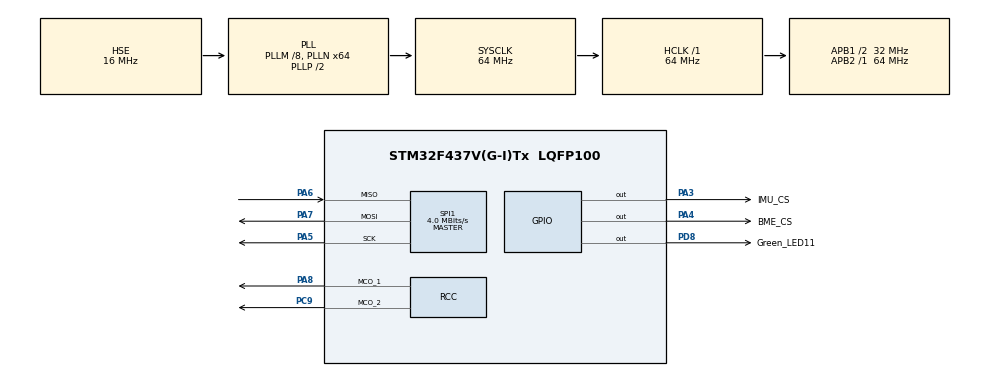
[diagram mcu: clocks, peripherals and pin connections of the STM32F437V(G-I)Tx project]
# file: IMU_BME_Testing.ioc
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Mcu.Family=STM32F4
Mcu.Name=STM32F437V(G-I)Tx
Mcu.Package=LQFP100
NVIC.PriorityGroup=NVIC_PRIORITYGROUP_4
PA3.GPIO_DefaultOutputState=GPIO_PIN_SET
PA3.GPIO_Label=IMU_CS
PA3.Signal=GPIO_Output
PA4.GPIO_DefaultOutputState=GPIO_PIN_SET
PA4.GPIO_Label=BME_CS
PA4.Signal=GPIO_Output
PA5.Mode=Full_Duplex_Master
PA5.Signal=SPI1_SCK
PA6.Mode=Full_Duplex_Master
PA6.Signal=SPI1_MISO
PA7.Mode=Full_Duplex_Master
PA7.Signal=SPI1_MOSI
PA8.Mode=Clock-out-1
PA8.Signal=RCC_MCO_1
PC9.Mode=Clock-out-2
PC9.Signal=RCC_MCO_2
PD8.GPIO_Label=Green_LED11
PD8.Signal=GPIO_Output
PH0/OSC_IN.Mode=HSE-External-Oscillator
PH0/OSC_IN.Signal=RCC_OSC_IN
PH1/OSC_OUT.Mode=HSE-External-Oscillator
PH1/OSC_OUT.Signal=RCC_OSC_OUT
ProjectManager.HeapSize=0x200
ProjectManager.StackSize=0x400
ProjectManager.TargetToolchain=STM32CubeIDE
RCC.48MHZClocksFreq_Value=32000000
RCC.AHBFreq_Value=64000000
RCC.APB1CLKDivider=RCC_HCLK_DIV2
RCC.APB1Freq_Value=32000000
RCC.APB1TimFreq_Value=64000000
RCC.APB2Freq_Value=64000000
RCC.APB2TimFreq_Value=64000000
RCC.CortexFreq_Value=64000000
RCC.EnbaleCSS=true
RCC.HCLKFreq_Value=64000000
RCC.HSE_VALUE=16000000
RCC.HSI_VALUE=16000000
RCC.LSE_VALUE=32768
RCC.PLLM=8
RCC.PLLN=64
RCC.PLLSourceVirtual=RCC_PLLSOURCE_HSE
RCC.RCC_MCO1Source=RCC_MCO1SOURCE_HSE
RCC.SYSCLKFreq_VALUE=64000000
RCC.SYSCLKSource=RCC_SYSCLKSOURCE_PLLCLK
RCC.VCOOutputFreq_Value=128000000
SPI1.BaudRatePrescaler=SPI_BAUDRATEPRESCALER_16
SPI1.CalculateBaudRate=4.0 MBits/s
SPI1.Direction=SPI_DIRECTION_2LINES
SPI1.Mode=SPI_MODE_MASTER
SPI1.VirtualType=VM_MASTER
board=custom

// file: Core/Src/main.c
/* USER CODE BEGIN Header */
/**
  ******************************************************************************
  * @file           : main.c
  * @brief          : Main program body
  ******************************************************************************
  * @attention
  *
  * Copyright (c) 2026 STMicroelectronics.
  * All rights reserved.
  *
  * This software is licensed under terms that can be found in the LICENSE file
  * in the root directory of this software component.
  * If no LICENSE file comes with this software, it is provided AS-IS.
  *
  ******************************************************************************
  */
/* USER CODE END Header */
#include "main.h"

/* USER CODE BEGIN Includes */
#include <stdio.h>
#include <string.h>
#include "bmi270.h"

/* USER CODE END Includes */

/* USER CODE BEGIN PD */
#define BMI270_CHIP_ID_REG                 0x00U
#define BMI270_ERROR_REG                   0x02U
#define BMI270_ACC_RANGE_REG               0x41U
#define BMI270_CHIP_ID_VALUE               0x24U
#define BMI270_SPI_READ_BIT                0x80U
#define BMI270_SPI_TIMEOUT_MS              100U
#define BMI270_STARTUP_DELAY_MS            10U
#define BMI270_SAMPLE_INTERVAL_MS          250U
#define BMI270_HEALTH_INTERVAL_MS          5000U
#define BMI270_RETRY_INTERVAL_MS           5000U
#define BMI270_CONFIG_BURST_LENGTH         64U
#define BMI270_RAW_PREFLIGHT_READS          5U
#define BMI270_DIAG_E_VERIFY               INT8_C(-100)
#define HEARTBEAT_TOGGLE_INTERVAL_MS       500U

/* USER CODE END PD */

SPI_HandleTypeDef hspi1;

/* USER CODE BEGIN PV */
/* Watch these variables in the debugger when SWV text is unavailable. */
volatile uint8_t bmi270_chip_id = 0U;
volatile uint8_t bmi270_communication_ok = 0U;
volatile HAL_StatusTypeDef bmi270_last_hal_status = HAL_ERROR;
volatile uint32_t bmi270_success_count = 0U;
volatile uint32_t bmi270_error_count = 0U;
volatile uint8_t bmi270_ready = 0U;
volatile int8_t bmi270_last_result = BMI2_E_COM_FAIL;
volatile uint8_t bmi270_internal_status = 0U;
volatile uint8_t bmi270_status = 0U;
volatile int16_t bmi270_accel_raw[3] = {0};
volatile int16_t bmi270_gyro_raw[3] = {0};
volatile uint32_t bmi270_sensor_time = 0U;

/* Exact low-level transaction information. phase: 1=address, 2=data. */
volatile uint8_t bmi270_spi_last_op = 0U;
volatile uint8_t bmi270_spi_last_reg = 0U;
volatile uint32_t bmi270_spi_last_len = 0U;
volatile uint8_t bmi270_spi_last_phase = 0U;
volatile uint32_t bmi270_spi_last_hal_error = 0U;
volatile uint32_t bmi270_spi_last_sr = 0U;
volatile uint32_t bmi270_spi_transaction_count = 0U;
volatile uint32_t bmi270_spi_failure_count = 0U;

static struct bmi2_dev bmi270_dev;
static const char *bmi270_stage = "not-started";

/* USER CODE END PV */

void SystemClock_Config(void);
static void MX_GPIO_Init(void);
static void MX_SPI1_Init(void);
/* USER CODE BEGIN PFP */
int __io_putchar(int ch);
static void BMI270_DelayUs(uint32_t period_us, void *intf_ptr);
static BMI2_INTF_RETURN_TYPE BMI270_BusRead(uint8_t reg_addr,
                                            uint8_t *reg_data,
                                            uint32_t len,
                                            void *intf_ptr);
static BMI2_INTF_RETURN_TYPE BMI270_BusWrite(uint8_t reg_addr,
                                             const uint8_t *reg_data,
                                             uint32_t len,
                                             void *intf_ptr);
static HAL_StatusTypeDef BMI270_RawRead(uint8_t reg_addr,
                                        uint8_t *reg_data,
                                        uint16_t len);
static void BMI270_PrintBusState(void);
static void BMI270_PrintRegisters(const char *label);
static uint8_t BMI270_RawPreflight(void);
static int8_t BMI270_WriteReadbackTest(void);
static int8_t BMI270_StartActive(void);
static void BMI270_ReadSample(void);

/* USER CODE END PFP */

/* USER CODE BEGIN 0 */
/**
  * @brief Route printf output to SWV ITM stimulus port 0.
  */
int __io_putchar(int ch)
{
  ITM_SendChar((uint32_t)ch);
  return ch;
}

static void BMI270_DelayUs(uint32_t period_us, void *intf_ptr)
{
  uint32_t cycles_per_us;
  uint32_t start;

  (void)intf_ptr;
  cycles_per_us = HAL_RCC_GetHCLKFreq() / 1000000U;
  start = DWT->CYCCNT;
  while ((uint32_t)(DWT->CYCCNT - start) < (period_us * cycles_per_us))
  {
  }
}

static void BMI270_SaveBusState(uint8_t op,
                                uint8_t reg_addr,
                                uint32_t len,
                                uint8_t phase,
                                HAL_StatusTypeDef status)
{
  bmi270_spi_last_op = op;
  bmi270_spi_last_reg = (uint8_t)(reg_addr & 0x7FU);
  bmi270_spi_last_len = len;
  bmi270_spi_last_phase = phase;
  bmi270_last_hal_status = status;
  bmi270_spi_last_hal_error = HAL_SPI_GetError(&hspi1);
  bmi270_spi_last_sr = hspi1.Instance->SR;
  bmi270_spi_transaction_count++;

  if (status != HAL_OK)
  {
    bmi270_spi_failure_count++;
  }
}

static BMI2_INTF_RETURN_TYPE BMI270_BusRead(uint8_t reg_addr,
                                            uint8_t *reg_data,
                                            uint32_t len,
                                            void *intf_ptr)
{
  SPI_HandleTypeDef *spi = (SPI_HandleTypeDef *)intf_ptr;
  HAL_StatusTypeDef status;
  uint8_t phase = 1U;

  if ((spi == NULL) || (reg_data == NULL) || (len == 0U) || (len > UINT16_MAX))
  {
    return (BMI2_INTF_RETURN_TYPE)-1;
  }

  /* The BME280 shares SPI1 and must never be selected during an IMU transfer. */
  HAL_GPIO_WritePin(BME_CS_GPIO_Port, BME_CS_Pin, GPIO_PIN_SET);
  HAL_GPIO_WritePin(IMU_CS_GPIO_Port, IMU_CS_Pin, GPIO_PIN_RESET);
  status = HAL_SPI_Transmit(spi, &reg_addr, 1U, BMI270_SPI_TIMEOUT_MS);
  if (status == HAL_OK)
  {
    phase = 2U;
    status = HAL_SPI_Receive(spi, reg_data, (uint16_t)len,
                             BMI270_SPI_TIMEOUT_MS);
  }
  HAL_GPIO_WritePin(IMU_CS_GPIO_Port, IMU_CS_Pin, GPIO_PIN_SET);

  BMI270_SaveBusState((uint8_t)'R', reg_addr, len, phase, status);
  return (status == HAL_OK) ? BMI2_INTF_RET_SUCCESS : (BMI2_INTF_RETURN_TYPE)-1;
}

static BMI2_INTF_RETURN_TYPE BMI270_BusWrite(uint8_t reg_addr,
                                             const uint8_t *reg_data,
                                             uint32_t len,
                                             void *intf_ptr)
{
  SPI_HandleTypeDef *spi = (SPI_HandleTypeDef *)intf_ptr;
  HAL_StatusTypeDef status;
  uint8_t phase = 1U;

  if ((spi == NULL) || (reg_data == NULL) || (len == 0U) || (len > UINT16_MAX))
  {
    return (BMI2_INTF_RETURN_TYPE)-1;
  }

  HAL_GPIO_WritePin(BME_CS_GPIO_Port, BME_CS_Pin, GPIO_PIN_SET);
  HAL_GPIO_WritePin(IMU_CS_GPIO_Port, IMU_CS_Pin, GPIO_PIN_RESET);
  status = HAL_SPI_Transmit(spi, &reg_addr, 1U, BMI270_SPI_TIMEOUT_MS);
  if (status == HAL_OK)
  {
    phase = 2U;
    status = HAL_SPI_Transmit(spi, (uint8_t *)reg_data, (uint16_t)len,
                              BMI270_SPI_TIMEOUT_MS);
  }
  HAL_GPIO_WritePin(IMU_CS_GPIO_Port, IMU_CS_Pin, GPIO_PIN_SET);

  BMI270_SaveBusState((uint8_t)'W', reg_addr, len, phase, status);
  return (status == HAL_OK) ? BMI2_INTF_RET_SUCCESS : (BMI2_INTF_RETURN_TYPE)-1;
}

static HAL_StatusTypeDef BMI270_RawRead(uint8_t reg_addr,
                                        uint8_t *reg_data,
                                        uint16_t len)
{
  uint8_t rx_data[17] = {0U};
  BMI2_INTF_RETURN_TYPE result;

  if ((reg_data == NULL) || (len == 0U) || (len > 16U))
  {
    return HAL_ERROR;
  }

  /* BMI270 SPI reads return one dummy byte before the requested register. */
  result = BMI270_BusRead((uint8_t)(reg_addr | BMI270_SPI_READ_BIT),
                          rx_data, (uint32_t)len + 1U, &hspi1);
  if (result == BMI2_INTF_RET_SUCCESS)
  {
    memcpy(reg_data, &rx_data[1], len);
    return HAL_OK;
  }

  return bmi270_last_hal_status;
}

static void BMI270_PrintBusState(void)
{
  printf("[BMI270 BUS] stage=%s op=%c reg=0x%02X len=%lu phase=%u "
         "HAL=%u HAL_ERR=0x%08lX HAL_STATE=%u SPI_SR=0x%08lX txns=%lu failures=%lu\r\n",
         bmi270_stage,
         (bmi270_spi_last_op != 0U) ? (char)bmi270_spi_last_op : '-',
         (unsigned int)bmi270_spi_last_reg,
         (unsigned long)bmi270_spi_last_len,
         (unsigned int)bmi270_spi_last_phase,
         (unsigned int)bmi270_last_hal_status,
         (unsigned long)bmi270_spi_last_hal_error,
         (unsigned int)HAL_SPI_GetState(&hspi1),
         (unsigned long)bmi270_spi_last_sr,
         (unsigned long)bmi270_spi_transaction_count,
         (unsigned long)bmi270_spi_failure_count);
}

static void BMI270_PrintRegisters(const char *label)
{
  uint8_t chip_id = 0U;
  uint8_t error = 0U;
  uint8_t status = 0U;
  uint8_t internal_status = 0U;
  uint8_t acc_config[2] = {0U};
  uint8_t gyr_config[2] = {0U};
  uint8_t power[2] = {0U};
  int8_t result = BMI2_OK;

  if (bmi270_ready != 0U)
  {
    result |= bmi2_get_regs(BMI2_CHIP_ID_ADDR, &chip_id, 1U, &bmi270_dev);
    result |= bmi2_get_regs(BMI270_ERROR_REG, &error, 1U, &bmi270_dev);
    result |= bmi2_get_regs(BMI2_STATUS_ADDR, &status, 1U, &bmi270_dev);
    result |= bmi2_get_regs(BMI2_INTERNAL_STATUS_ADDR, &internal_status, 1U,
                            &bmi270_dev);
    result |= bmi2_get_regs(BMI2_ACC_CONF_ADDR, acc_config, 2U, &bmi270_dev);
    result |= bmi2_get_regs(BMI2_GYR_CONF_ADDR, gyr_config, 2U, &bmi270_dev);
    result |= bmi2_get_regs(BMI2_PWR_CONF_ADDR, power, 2U, &bmi270_dev);
  }
  else
  {
    if ((BMI270_RawRead(BMI2_CHIP_ID_ADDR, &chip_id, 1U) != HAL_OK) ||
        (BMI270_RawRead(BMI270_ERROR_REG, &error, 1U) != HAL_OK) ||
        (BMI270_RawRead(BMI2_STATUS_ADDR, &status, 1U) != HAL_OK) ||
        (BMI270_RawRead(BMI2_INTERNAL_STATUS_ADDR, &internal_status, 1U) != HAL_OK) ||
        (BMI270_RawRead(BMI2_ACC_CONF_ADDR, acc_config, 2U) != HAL_OK) ||
        (BMI270_RawRead(BMI2_GYR_CONF_ADDR, gyr_config, 2U) != HAL_OK) ||
        (BMI270_RawRead(BMI2_PWR_CONF_ADDR, power, 2U) != HAL_OK))
    {
      result = BMI2_E_COM_FAIL;
    }
  }

  bmi270_internal_status = internal_status;
  printf("[BMI270 REGS %s] result=%d CHIP_ID[00]=%02X ERR[02]=%02X "
         "STATUS[03]=%02X INTERNAL[21]=%02X ACC[40:41]=%02X,%02X "
         "GYR[42:43]=%02X,%02X PWR[7C:7D]=%02X,%02X\r\n",
         label, (int)result, (unsigned int)chip_id, (unsigned int)error,
         (unsigned int)status, (unsigned int)internal_status,
         (unsigned int)acc_config[0], (unsigned int)acc_config[1],
         (unsigned int)gyr_config[0], (unsigned int)gyr_config[1],
         (unsigned int)power[0], (unsigned int)power[1]);
}

static uint8_t BMI270_RawPreflight(void)
{
  uint8_t chip_id = 0U;
  uint8_t valid_reads = 0U;
  uint8_t index;

  /* The first access after power-up selects SPI and is intentionally ignored. */
  bmi270_stage = "raw-spi-wakeup";
  (void)BMI270_RawRead(BMI270_CHIP_ID_REG, &chip_id, 1U);

  bmi270_stage = "raw-chip-id";
  for (index = 0U; index < BMI270_RAW_PREFLIGHT_READS; index++)
  {
    bmi270_last_hal_status = BMI270_RawRead(BMI270_CHIP_ID_REG, &chip_id, 1U);
    bmi270_chip_id = chip_id;
    if ((bmi270_last_hal_status == HAL_OK) &&
        (chip_id == BMI270_CHIP_ID_VALUE))
    {
      valid_reads++;
      bmi270_success_count++;
    }
    else
    {
      bmi270_error_count++;
    }
  }

  bmi270_communication_ok = (valid_reads == BMI270_RAW_PREFLIGHT_READS) ? 1U : 0U;
  printf("[BMI270 PREFLIGHT] valid=%u/%u CHIP_ID=0x%02X expected=0x%02X HAL=%u\r\n",
         (unsigned int)valid_reads,
         (unsigned int)BMI270_RAW_PREFLIGHT_READS,
         (unsigned int)bmi270_chip_id,
         (unsigned int)BMI270_CHIP_ID_VALUE,
         (unsigned int)bmi270_last_hal_status);
  BMI270_PrintRegisters("RESET");

  if (bmi270_communication_ok == 0U)
  {
    BMI270_PrintBusState();
  }

  return bmi270_communication_ok;
}

static int8_t BMI270_WriteReadbackTest(void)
{
  uint8_t saved = 0U;
  uint8_t changed = 0U;
  uint8_t readback = 0U;
  uint8_t restored = 0U;
  uint8_t have_saved = 0U;
  int8_t result;

  bmi270_stage = "write-readback";
  result = bmi2_get_regs(BMI270_ACC_RANGE_REG, &saved, 1U, &bmi270_dev);
  if (result == BMI2_OK)
  {
    have_saved = 1U;
    changed = (uint8_t)((saved & (uint8_t)~BMI2_ACC_RANGE_MASK) |
                        (((saved & BMI2_ACC_RANGE_MASK) + 1U) & BMI2_ACC_RANGE_MASK));
    result = bmi2_set_regs(BMI270_ACC_RANGE_REG, &changed, 1U, &bmi270_dev);
  }
  if (result == BMI2_OK)
  {
    result = bmi2_get_regs(BMI270_ACC_RANGE_REG, &readback, 1U, &bmi270_dev);
  }
  if ((result == BMI2_OK) && (readback != changed))
  {
    result = BMI270_DIAG_E_VERIFY;
  }

  /* If the original value was read, restore the live range immediately. */
  if ((have_saved != 0U) &&
      (bmi2_set_regs(BMI270_ACC_RANGE_REG, &saved, 1U, &bmi270_dev) == BMI2_OK))
  {
    if (bmi2_get_regs(BMI270_ACC_RANGE_REG, &restored, 1U, &bmi270_dev) != BMI2_OK)
    {
      result = BMI2_E_COM_FAIL;
    }
  }
  else if (have_saved != 0U)
  {
    result = BMI2_E_COM_FAIL;
  }
  if ((result == BMI2_OK) && (restored != saved))
  {
    result = BMI270_DIAG_E_VERIFY;
  }

  printf("[BMI270 WRITE TEST] result=%d reg=0x%02X saved=0x%02X "
         "wrote=0x%02X read=0x%02X restored=0x%02X %s\r\n",
         (int)result, (unsigned int)BMI270_ACC_RANGE_REG,
         (unsigned int)saved, (unsigned int)changed,
         (unsigned int)readback, (unsigned int)restored,
         (result == BMI2_OK) ? "PASS" : "FAIL");
  return result;
}

static int8_t BMI270_StartActive(void)
{
  struct bmi2_sens_config config[2] = {0};
  uint8_t sensors[2] = {BMI2_ACCEL, BMI2_GYRO};
  int8_t result;

  bmi270_ready = 0U;
  memset(&bmi270_dev, 0, sizeof(bmi270_dev));
  bmi270_dev.intf = BMI2_SPI_INTF;
  bmi270_dev.intf_ptr = &hspi1;
  bmi270_dev.read = BMI270_BusRead;
  bmi270_dev.write = BMI270_BusWrite;
  bmi270_dev.delay_us = BMI270_DelayUs;
  bmi270_dev.read_write_len = BMI270_CONFIG_BURST_LENGTH;

  bmi270_stage = "bmi270-init";
  result = bmi270_init(&bmi270_dev);
  printf("[BMI270 INIT] stage=%s result=%d chip=0x%02X load_status=0x%02X\r\n",
         bmi270_stage, (int)result, (unsigned int)bmi270_dev.chip_id,
         (unsigned int)bmi270_dev.load_status);
  if (result != BMI2_OK)
  {
    BMI270_PrintBusState();
    printf("[BMI270 BOOT] ready=0 result=%d failed_stage=%s\r\n",
           (int)result, bmi270_stage);
    return result;
  }

  config[0].type = BMI2_ACCEL;
  config[0].cfg.acc.odr = BMI2_ACC_ODR_100HZ;
  config[0].cfg.acc.bwp = BMI2_ACC_NORMAL_AVG4;
  config[0].cfg.acc.filter_perf = BMI2_PERF_OPT_MODE;
  config[0].cfg.acc.range = BMI2_ACC_RANGE_4G;

  config[1].type = BMI2_GYRO;
  config[1].cfg.gyr.odr = BMI2_GYR_ODR_100HZ;
  config[1].cfg.gyr.bwp = BMI2_GYR_NORMAL_MODE;
  config[1].cfg.gyr.filter_perf = BMI2_PERF_OPT_MODE;
  config[1].cfg.gyr.ois_range = BMI2_GYR_OIS_2000;
  config[1].cfg.gyr.range = BMI2_GYR_RANGE_2000;
  config[1].cfg.gyr.noise_perf = BMI2_PERF_OPT_MODE;

  bmi270_stage = "set-config";
  result = bmi2_set_sensor_config(config, 2U, &bmi270_dev);
  printf("[BMI270 INIT] stage=%s result=%d\r\n", bmi270_stage, (int)result);
  if (result != BMI2_OK)
  {
    BMI270_PrintBusState();
    printf("[BMI270 BOOT] ready=0 result=%d failed_stage=%s\r\n",
           (int)result, bmi270_stage);
    return result;
  }

  bmi270_stage = "enable-accel-gyro";
  result = bmi270_sensor_enable(sensors, 2U, &bmi270_dev);
  printf("[BMI270 INIT] stage=%s result=%d\r\n", bmi270_stage, (int)result);
  if (result != BMI2_OK)
  {
    BMI270_PrintBusState();
    printf("[BMI270 BOOT] ready=0 result=%d failed_stage=%s\r\n",
           (int)result, bmi270_stage);
    return result;
  }

  HAL_Delay(50U);
  bmi270_ready = 1U;
  BMI270_PrintRegisters("ACTIVE");

  result = BMI270_WriteReadbackTest();
  if (result != BMI2_OK)
  {
    bmi270_ready = 0U;
    BMI270_PrintBusState();
    printf("[BMI270 BOOT] ready=0 result=%d failed_stage=%s\r\n",
           (int)result, bmi270_stage);
    return result;
  }

  bmi270_stage = "active";
  bmi270_communication_ok = 1U;
  printf("[BMI270 BOOT] ready=1 result=0; accel=100Hz +/-4g gyro=100Hz +/-2000dps\r\n");
  return BMI2_OK;
}

static void BMI270_ReadSample(void)
{
  static uint32_t sequence = 0U;
  static uint32_t previous_sensor_time = 0U;
  static uint32_t unchanged_time_count = 0U;
  struct bmi2_sens_data data = {0};
  int32_t ax_mg;
  int32_t ay_mg;
  int32_t az_mg;
  int32_t gx_mdps;
  int32_t gy_mdps;
  int32_t gz_mdps;
  int8_t result;

  bmi270_stage = "sample";
  result = bmi2_get_sensor_data(&data, &bmi270_dev);
  bmi270_last_result = result;
  if (result != BMI2_OK)
  {
    bmi270_communication_ok = 0U;
    bmi270_ready = 0U;
    bmi270_error_count++;
    printf("[BMI270 SAMPLE] result=%d FAIL\r\n", (int)result);
    BMI270_PrintBusState();
    return;
  }

  bmi270_status = data.status;
  bmi270_accel_raw[0] = data.acc.x;
  bmi270_accel_raw[1] = data.acc.y;
  bmi270_accel_raw[2] = data.acc.z;
  bmi270_gyro_raw[0] = data.gyr.x;
  bmi270_gyro_raw[1] = data.gyr.y;
  bmi270_gyro_raw[2] = data.gyr.z;
  bmi270_sensor_time = data.sens_time;

  if (data.sens_time == previous_sensor_time)
  {
    unchanged_time_count++;
  }
  else
  {
    unchanged_time_count = 0U;
  }
  previous_sensor_time = data.sens_time;

  ax_mg = ((int32_t)data.acc.x * 4000) / 32768;
  ay_mg = ((int32_t)data.acc.y * 4000) / 32768;
  az_mg = ((int32_t)data.acc.z * 4000) / 32768;
  gx_mdps = (int32_t)(((int64_t)data.gyr.x * 2000000LL) / 32768LL);
  gy_mdps = (int32_t)(((int64_t)data.gyr.y * 2000000LL) / 32768LL);
  gz_mdps = (int32_t)(((int64_t)data.gyr.z * 2000000LL) / 32768LL);

  sequence++;
  bmi270_success_count++;
  printf("[BMI270 SAMPLE] n=%lu result=0 STATUS=0x%02X DRDY_A=%u DRDY_G=%u "
         "TIME=%lu time_stuck=%lu Araw=%d,%d,%d Amg=%ld,%ld,%ld "
         "Graw=%d,%d,%d Gmdps=%ld,%ld,%ld\r\n",
         (unsigned long)sequence, (unsigned int)data.status,
         ((data.status & BMI2_DRDY_ACC) != 0U) ? 1U : 0U,
         ((data.status & BMI2_DRDY_GYR) != 0U) ? 1U : 0U,
         (unsigned long)data.sens_time, (unsigned long)unchanged_time_count,
         (int)data.acc.x, (int)data.acc.y, (int)data.acc.z,
         (long)ax_mg, (long)ay_mg, (long)az_mg,
         (int)data.gyr.x, (int)data.gyr.y, (int)data.gyr.z,
         (long)gx_mdps, (long)gy_mdps, (long)gz_mdps);
}

/* USER CODE END 0 */

int main(void)
{

  /* MCU Configuration--------------------------------------------------------*/

  /* Reset of all peripherals, Initializes the Flash interface and the Systick. */
  HAL_Init();

  /* Configure the system clock */
  SystemClock_Config();

  /* Initialize all configured peripherals */
  MX_GPIO_Init();
  MX_SPI1_Init();
  /* USER CODE BEGIN 2 */
  uint32_t heartbeat_tick = HAL_GetTick();
  uint32_t imu_sample_tick;
  uint32_t imu_health_tick;
  uint32_t imu_retry_tick;

  /* Enable the Cortex-M4 cycle counter for Bosch's microsecond delays. */
  CoreDebug->DEMCR |= CoreDebug_DEMCR_TRCENA_Msk;
  DWT->CYCCNT = 0U;
  DWT->CTRL |= DWT_CTRL_CYCCNTENA_Msk;

  printf("\r\n========================================\r\n");
  printf("STM32 BMI270 SPI register and live-data diagnostic\r\n");
  printf("SWV ITM port 0, core clock %lu Hz\r\n",
         (unsigned long)HAL_RCC_GetHCLKFreq());
  printf("SPI1 clock=%lu Hz mode=0 MSB-first; polling transfers (no SPI IRQ required)\r\n",
         (unsigned long)(HAL_RCC_GetPCLK2Freq() / 16U));
  printf("Pins: PA5=SCK PA6=MISO PA7=MOSI PA3=IMU_CS; BME_CS held high\r\n");
  printf("Expected BMI270 CHIP_ID: 0x%02X\r\n",
         (unsigned int)BMI270_CHIP_ID_VALUE);
  printf("========================================\r\n");

  /* Allow the BMI270 to finish power-on before its first SPI transaction. */
  HAL_Delay(BMI270_STARTUP_DELAY_MS);
  if (BMI270_RawPreflight() != 0U)
  {
    bmi270_last_result = BMI270_StartActive();
  }
  else
  {
    bmi270_last_result = BMI2_E_DEV_NOT_FOUND;
    printf("[BMI270 BOOT] ready=0 result=%d; initialization skipped until CHIP_ID is 0x24\r\n",
           (int)bmi270_last_result);
  }
  imu_sample_tick = HAL_GetTick();
  imu_health_tick = HAL_GetTick();
  imu_retry_tick = HAL_GetTick();

  /* USER CODE END 2 */

  /* Infinite loop */
  while (1)
  {

    /* USER CODE BEGIN 3 */
    uint32_t now = HAL_GetTick();

    /* A toggle every 500 ms produces one complete LED blink each second. */
    if ((uint32_t)(now - heartbeat_tick) >= HEARTBEAT_TOGGLE_INTERVAL_MS)
    {
      heartbeat_tick = now;
      HAL_GPIO_TogglePin(Green_LED11_GPIO_Port, Green_LED11_Pin);
    }

    if ((bmi270_ready != 0U) &&
        ((uint32_t)(now - imu_sample_tick) >= BMI270_SAMPLE_INTERVAL_MS))
    {
      imu_sample_tick = now;
      BMI270_ReadSample();
    }

    /* Periodically expose configuration and error registers while active. */
    if ((bmi270_ready != 0U) &&
        ((uint32_t)(now - imu_health_tick) >= BMI270_HEALTH_INTERVAL_MS))
    {
      imu_health_tick = now;
      bmi270_stage = "health-registers";
      BMI270_PrintRegisters("HEALTH");
    }

    /* A disconnected or failed device is retried without requiring a reset. */
    if ((bmi270_ready == 0U) &&
        ((uint32_t)(now - imu_retry_tick) >= BMI270_RETRY_INTERVAL_MS))
    {
      imu_retry_tick = now;
      if (BMI270_RawPreflight() != 0U)
      {
        bmi270_last_result = BMI270_StartActive();
      }
      else
      {
        bmi270_last_result = BMI2_E_DEV_NOT_FOUND;
      }
    }
  }
  /* USER CODE END 3 */
}

void SystemClock_Config(void)
{
  RCC_OscInitTypeDef RCC_OscInitStruct = {0};
  RCC_ClkInitTypeDef RCC_ClkInitStruct = {0};

  /** Configure the main internal regulator output voltage
  */
  __HAL_RCC_PWR_CLK_ENABLE();
  __HAL_PWR_VOLTAGESCALING_CONFIG(PWR_REGULATOR_VOLTAGE_SCALE3);

  /** Initializes the RCC Oscillators according to the specified parameters
  * in the RCC_OscInitTypeDef structure.
  */
  RCC_OscInitStruct.OscillatorType = RCC_OSCILLATORTYPE_HSE;
  RCC_OscInitStruct.HSEState = RCC_HSE_ON;
  RCC_OscInitStruct.PLL.PLLState = RCC_PLL_ON;
  RCC_OscInitStruct.PLL.PLLSource = RCC_PLLSOURCE_HSE;
  RCC_OscInitStruct.PLL.PLLM = 8;
  RCC_OscInitStruct.PLL.PLLN = 64;
  RCC_OscInitStruct.PLL.PLLP = RCC_PLLP_DIV2;
  RCC_OscInitStruct.PLL.PLLQ = 4;
  if (HAL_RCC_OscConfig(&RCC_OscInitStruct) != HAL_OK)
  {
    Error_Handler();
  }

  /** Initializes the CPU, AHB and APB buses clocks
  */
  RCC_ClkInitStruct.ClockType = RCC_CLOCKTYPE_HCLK|RCC_CLOCKTYPE_SYSCLK
                              |RCC_CLOCKTYPE_PCLK1|RCC_CLOCKTYPE_PCLK2;
  RCC_ClkInitStruct.SYSCLKSource = RCC_SYSCLKSOURCE_PLLCLK;
  RCC_ClkInitStruct.AHBCLKDivider = RCC_SYSCLK_DIV1;
  RCC_ClkInitStruct.APB1CLKDivider = RCC_HCLK_DIV2;
  RCC_ClkInitStruct.APB2CLKDivider = RCC_HCLK_DIV1;

  if (HAL_RCC_ClockConfig(&RCC_ClkInitStruct, FLASH_LATENCY_2) != HAL_OK)
  {
    Error_Handler();
  }
  HAL_RCC_MCOConfig(RCC_MCO1, RCC_MCO1SOURCE_HSE, RCC_MCODIV_1);
  HAL_RCC_MCOConfig(RCC_MCO2, RCC_MCO2SOURCE_SYSCLK, RCC_MCODIV_1);

  /** Enables the Clock Security System
  */
  HAL_RCC_EnableCSS();
}

static void MX_SPI1_Init(void)
{

  /* SPI1 parameter configuration*/
  hspi1.Instance = SPI1;
  hspi1.Init.Mode = SPI_MODE_MASTER;
  hspi1.Init.Direction = SPI_DIRECTION_2LINES;
  hspi1.Init.DataSize = SPI_DATASIZE_8BIT;
  hspi1.Init.CLKPolarity = SPI_POLARITY_LOW;
  hspi1.Init.CLKPhase = SPI_PHASE_1EDGE;
  hspi1.Init.NSS = SPI_NSS_SOFT;
  hspi1.Init.BaudRatePrescaler = SPI_BAUDRATEPRESCALER_16;
  hspi1.Init.FirstBit = SPI_FIRSTBIT_MSB;
  hspi1.Init.TIMode = SPI_TIMODE_DISABLE;
  hspi1.Init.CRCCalculation = SPI_CRCCALCULATION_DISABLE;
  hspi1.Init.CRCPolynomial = 10;
  if (HAL_SPI_Init(&hspi1) != HAL_OK)
  {
    Error_Handler();
  }

}

static void MX_GPIO_Init(void)
{
  GPIO_InitTypeDef GPIO_InitStruct = {0};

  /* GPIO Ports Clock Enable */
  __HAL_RCC_GPIOH_CLK_ENABLE();
  __HAL_RCC_GPIOA_CLK_ENABLE();
  __HAL_RCC_GPIOD_CLK_ENABLE();
  __HAL_RCC_GPIOC_CLK_ENABLE();

  /*Configure GPIO pin Output Level */
  HAL_GPIO_WritePin(GPIOA, IMU_CS_Pin|BME_CS_Pin, GPIO_PIN_SET);

  /*Configure GPIO pin Output Level */
  HAL_GPIO_WritePin(Green_LED11_GPIO_Port, Green_LED11_Pin, GPIO_PIN_RESET);

  /*Configure GPIO pins : IMU_CS_Pin BME_CS_Pin */
  GPIO_InitStruct.Pin = IMU_CS_Pin|BME_CS_Pin;
  GPIO_InitStruct.Mode = GPIO_MODE_OUTPUT_PP;
  GPIO_InitStruct.Pull = GPIO_NOPULL;
  GPIO_InitStruct.Speed = GPIO_SPEED_FREQ_LOW;
  HAL_GPIO_Init(GPIOA, &GPIO_InitStruct);

  /*Configure GPIO pin : Green_LED11_Pin */
  GPIO_InitStruct.Pin = Green_LED11_Pin;
  GPIO_InitStruct.Mode = GPIO_MODE_OUTPUT_PP;
  GPIO_InitStruct.Pull = GPIO_NOPULL;
  GPIO_InitStruct.Speed = GPIO_SPEED_FREQ_LOW;
  HAL_GPIO_Init(Green_LED11_GPIO_Port, &GPIO_InitStruct);

  /*Configure GPIO pin : PC9 */
  GPIO_InitStruct.Pin = GPIO_PIN_9;
  GPIO_InitStruct.Mode = GPIO_MODE_AF_PP;
  GPIO_InitStruct.Pull = GPIO_NOPULL;
  GPIO_InitStruct.Speed = GPIO_SPEED_FREQ_LOW;
  GPIO_InitStruct.Alternate = GPIO_AF0_MCO;
  HAL_GPIO_Init(GPIOC, &GPIO_InitStruct);

  /*Configure GPIO pin : PA8 */
  GPIO_InitStruct.Pin = GPIO_PIN_8;
  GPIO_InitStruct.Mode = GPIO_MODE_AF_PP;
  GPIO_InitStruct.Pull = GPIO_NOPULL;
  GPIO_InitStruct.Speed = GPIO_SPEED_FREQ_LOW;
  GPIO_InitStruct.Alternate = GPIO_AF0_MCO;
  HAL_GPIO_Init(GPIOA, &GPIO_InitStruct);

}

void Error_Handler(void)
{
  __disable_irq();
  while (1)
  {
  }
}
